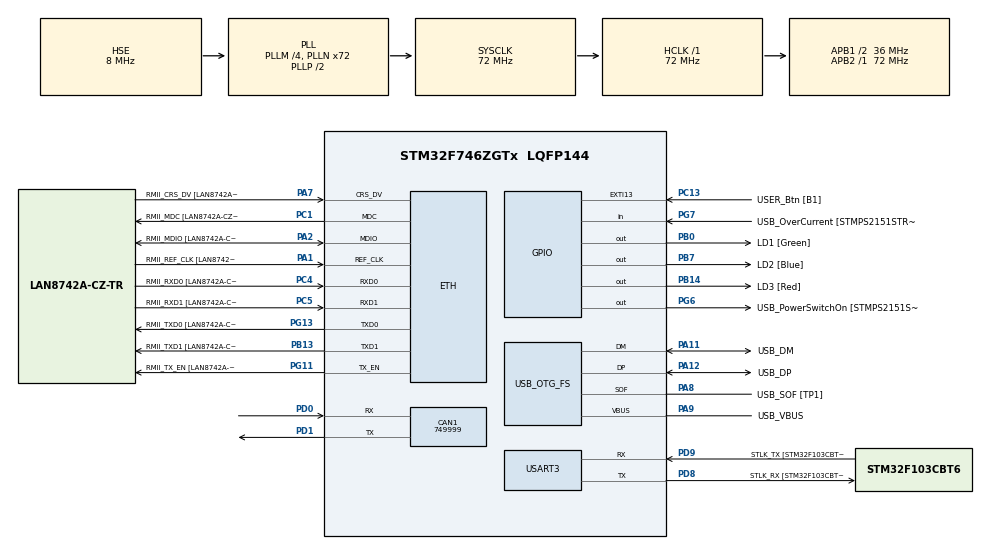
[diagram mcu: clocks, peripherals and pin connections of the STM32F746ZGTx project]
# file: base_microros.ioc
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CAN1.CalculateBaudRate=749999
CAN1.CalculateTimeBit=1333
CAN1.CalculateTimeQuantum=444.44444444444446
Dma.Request0=USART3_RX
Dma.Request1=USART3_TX
Dma.USART3_RX.0.Direction=DMA_PERIPH_TO_MEMORY
Dma.USART3_RX.0.FIFOMode=DMA_FIFOMODE_DISABLE
Dma.USART3_RX.0.Instance=DMA1_Stream1
Dma.USART3_RX.0.MemDataAlignment=DMA_MDATAALIGN_BYTE
Dma.USART3_RX.0.MemInc=DMA_MINC_ENABLE
Dma.USART3_RX.0.Mode=DMA_CIRCULAR
Dma.USART3_RX.0.PeriphDataAlignment=DMA_PDATAALIGN_BYTE
Dma.USART3_RX.0.PeriphInc=DMA_PINC_DISABLE
Dma.USART3_RX.0.Priority=DMA_PRIORITY_VERY_HIGH
Dma.USART3_TX.1.Direction=DMA_MEMORY_TO_PERIPH
Dma.USART3_TX.1.FIFOMode=DMA_FIFOMODE_DISABLE
Dma.USART3_TX.1.Instance=DMA1_Stream3
Dma.USART3_TX.1.MemDataAlignment=DMA_MDATAALIGN_BYTE
Dma.USART3_TX.1.MemInc=DMA_MINC_ENABLE
Dma.USART3_TX.1.Mode=DMA_NORMAL
Dma.USART3_TX.1.PeriphDataAlignment=DMA_PDATAALIGN_BYTE
Dma.USART3_TX.1.PeriphInc=DMA_PINC_DISABLE
Dma.USART3_TX.1.Priority=DMA_PRIORITY_VERY_HIGH
ETH.MediaInterface=HAL_ETH_RMII_MODE
ETH.PHY_Name=LAN8742A_PHY_ADDRESS
ETH.PHY_Value=0
ETH.PhyAddress=0
FREERTOS.Tasks01=defaultTask,24,3500,StartDefaultTask,Default,NULL,Static,defaultTaskBuffer,defaultTaskControlBlock
Mcu.Family=STM32F7
Mcu.Name=STM32F746ZGTx
Mcu.Package=LQFP144
NVIC.DMA1_Stream1_IRQn=true\:5\:0\:false\:false\:true\:true\:false\:true\:true
NVIC.DMA1_Stream3_IRQn=true\:5\:0\:false\:false\:true\:true\:false\:true\:true
NVIC.PriorityGroup=NVIC_PRIORITYGROUP_4
NVIC.TIM1_UP_TIM10_IRQn=true\:15\:0\:false\:false\:true\:false\:false\:true\:true
NVIC.TimeBase=TIM1_UP_TIM10_IRQn
NVIC.TimeBaseIP=TIM1
NVIC.USART3_IRQn=true\:5\:0\:false\:false\:true\:true\:true\:true\:true
PA1.GPIO_Label=RMII_REF_CLK [LAN8742A-CZ-TR_REFCLK0]
PA1.Mode=RMII
PA1.Signal=ETH_REF_CLK
PA10.GPIO_Label=USB_ID
PA10.Signal=USB_OTG_FS_ID
PA11.GPIO_Label=USB_DM
PA11.Mode=Device_Only
PA11.Signal=USB_OTG_FS_DM
PA12.GPIO_Label=USB_DP
PA12.Mode=Device_Only
PA12.Signal=USB_OTG_FS_DP
PA13.GPIO_Label=TMS
PA13.Mode=Serial_Wire
PA13.Signal=SYS_JTMS-SWDIO
PA14.GPIO_Label=TCK
PA14.Mode=Serial_Wire
PA14.Signal=SYS_JTCK-SWCLK
PA2.GPIO_Label=RMII_MDIO [LAN8742A-CZ-TR_MDIO]
PA2.Mode=RMII
PA2.Signal=ETH_MDIO
PA7.GPIO_Label=RMII_CRS_DV [LAN8742A-CZ-TR_CRS_DV]
PA7.Mode=RMII
PA7.Signal=ETH_CRS_DV
PA8.GPIO_Label=USB_SOF [TP1]
PA8.Mode=Activate_SOF_FS
PA8.Signal=USB_OTG_FS_SOF
PA9.GPIO_Label=USB_VBUS
PA9.Mode=Activate_VBUS
PA9.Signal=USB_OTG_FS_VBUS
PB0.GPIO_Label=LD1 [Green]
PB0.Signal=GPIO_Output
PB13.GPIO_Label=RMII_TXD1 [LAN8742A-CZ-TR_TXD1]
PB13.Mode=RMII
PB13.Signal=ETH_TXD1
PB14.GPIO_Label=LD3 [Red]
PB14.Signal=GPIO_Output
PB3.GPIO_Label=SW0
PB3.Signal=SYS_JTDO-SWO
PB7.GPIO_Label=LD2 [Blue]
PB7.Signal=GPIO_Output
PC1.GPIO_Label=RMII_MDC [LAN8742A-CZ-TR_MDC]
PC1.Mode=RMII
PC1.Signal=ETH_MDC
PC13.GPIO_Label=USER_Btn [B1]
PC13.Signal=GPXTI13
PC14/OSC32_IN.Mode=LSE-External-Oscillator
PC14/OSC32_IN.Signal=RCC_OSC32_IN
PC15/OSC32_OUT.Mode=LSE-External-Oscillator
PC15/OSC32_OUT.Signal=RCC_OSC32_OUT
PC4.GPIO_Label=RMII_RXD0 [LAN8742A-CZ-TR_RXD0]
PC4.Mode=RMII
PC4.Signal=ETH_RXD0
PC5.GPIO_Label=RMII_RXD1 [LAN8742A-CZ-TR_RXD1]
PC5.Mode=RMII
PC5.Signal=ETH_RXD1
PD0.Mode=CAN_Activate
PD0.Signal=CAN1_RX
PD1.Mode=CAN_Activate
PD1.Signal=CAN1_TX
PD8.GPIO_Label=STLK_RX [STM32F103CBT6_PA3]
PD8.GPIO_PuPd=GPIO_PULLUP
PD8.Mode=Asynchronous
PD8.Signal=USART3_TX
PD9.GPIO_Label=STLK_TX [STM32F103CBT6_PA2]
PD9.GPIO_PuPd=GPIO_PULLUP
PD9.Mode=Asynchronous
PD9.Signal=USART3_RX
PG11.GPIO_Label=RMII_TX_EN [LAN8742A-CZ-TR_TXEN]
PG11.Mode=RMII
PG11.Signal=ETH_TX_EN
PG13.GPIO_Label=RMII_TXD0 [LAN8742A-CZ-TR_TXD0]
PG13.Mode=RMII
PG13.Signal=ETH_TXD0
PG6.GPIO_Label=USB_PowerSwitchOn [STMPS2151STR_EN]
PG6.Signal=GPIO_Output
PG7.GPIO_Label=USB_OverCurrent [STMPS2151STR_FAULT]
PG7.Signal=GPIO_Input
PH0/OSC_IN.GPIO_Label=MCO [STM32F103CBT6_PA8]
PH0/OSC_IN.Mode=HSE-External-Oscillator
PH0/OSC_IN.Signal=RCC_OSC_IN
PH1/OSC_OUT.Mode=HSE-External-Oscillator
PH1/OSC_OUT.Signal=RCC_OSC_OUT
ProjectManager.HeapSize=0x200
ProjectManager.StackSize=0x400
ProjectManager.TargetToolchain=STM32CubeIDE
RCC.48MHZClocksFreq_Value=24000000
RCC.AHBFreq_Value=72000000
RCC.APB1CLKDivider=RCC_HCLK_DIV2
RCC.APB1Freq_Value=36000000
RCC.APB1TimFreq_Value=72000000
RCC.APB2Freq_Value=72000000
RCC.APB2TimFreq_Value=72000000
RCC.CortexFreq_Value=72000000
RCC.HCLKFreq_Value=72000000
RCC.HSE_VALUE=8000000
RCC.HSI_VALUE=16000000
RCC.PLLM=4
RCC.PLLMUL=RCC_PLL_MUL9
RCC.PLLN=72
RCC.PLLQ=3
RCC.PRESCALERUSB=RCC_USBCLKSOURCE_PLL_DIV1_5
RCC.SYSCLKFreq_VALUE=72000000
RCC.SYSCLKSource=RCC_SYSCLKSOURCE_PLLCLK
RCC.SYSCLKSourceVirtual=RCC_SYSCLKSOURCE_PLLCLK
RCC.USBFreq_Value=48000000
RCC.VCOOutputFreq_Value=144000000
USART3.VirtualMode-Asynchronous=VM_ASYNC
USB_OTG_FS.VirtualMode=Device_Only
VP_FREERTOS_VS_CMSIS_V2.Mode=CMSIS_V2
VP_SYS_VS_tim1.Mode=TIM1
board=NUCLEO-F746ZG

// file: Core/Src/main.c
/* USER CODE BEGIN Header */
/**
  ******************************************************************************
  * @file           : main.c
  * @brief          : Main program body
  ******************************************************************************
  * @attention
  *
  * Copyright (c) 2024 STMicroelectronics.
  * All rights reserved.
  *
  * This software is licensed under terms that can be found in the LICENSE file
  * in the root directory of this software component.
  * If no LICENSE file comes with this software, it is provided AS-IS.
  *
  ******************************************************************************
  */
/* USER CODE END Header */
#include "main.h"
#include "string.h"
#include "cmsis_os.h"

/* USER CODE BEGIN Includes */
#include <rcl/error_handling.h>
#include <rclc/rclc.h>
#include <rclc/executor.h>
#include <uxr/client/transport.h>
#include <rmw_microxrcedds_c/config.h>
#include <rmw_microros/rmw_microros.h>

#include <std_msgs/msg/int32.h>
#include <std_msgs/msg/float32.h>
/* USER CODE END Includes */

typedef StaticTask_t osStaticThreadDef_t;
/* USER CODE BEGIN PTD */

rcl_subscription_t subscription_ancle_left_reference;
rcl_subscription_t subscription_ancle_right_reference;
rcl_subscription_t subscription_knee_left_reference;
rcl_subscription_t subscription_knee_right_reference;
rcl_subscription_t subscription_heap_left_reference;
rcl_subscription_t subscription_heap_right_reference;
rcl_subscription_t subscription_aux_id_reference;
rcl_subscription_t subscription_aux_value_reference;

std_msgs__msg__Float32 msg_ancle_left_reference ;
std_msgs__msg__Float32 msg_ancle_right_reference;
std_msgs__msg__Float32 msg_knee_left_reference;
std_msgs__msg__Float32 msg_knee_right_reference ;
std_msgs__msg__Float32 msg_heap_left_reference ;
std_msgs__msg__Float32 msg_heap_right_reference ;
std_msgs__msg__Float32 msg_aux_id_reference ;
std_msgs__msg__Float32 msg_aux_value_reference;

void subscription_callback_ancle_left_reference(const void * msgin)
{
	const std_msgs__msg__Float32 * msg = (const std_msgs__msg__Float32 *)msgin;
	//printf("Received: %f\n", msg->data);
	HAL_GPIO_TogglePin(GPIOA, GPIO_PIN_5);

}
void subscription_callback_ancle_right_reference(const void * msgin)
{
	const std_msgs__msg__Float32 * msg = (const std_msgs__msg__Float32 *)msgin;
	//printf("Received: %f\n", msg->data);
	UNUSED(msg);

}
void subscription_callback_knee_left_reference(const void * msgin)
{
	const std_msgs__msg__Float32 * msg = (const std_msgs__msg__Float32 *)msgin;
	//printf("Received: %f\n", msg->data);
	UNUSED(msg);

}
void subscription_callback_knee_right_reference(const void * msgin)
{
	const std_msgs__msg__Float32 * msg = (const std_msgs__msg__Float32 *)msgin;
	//printf("Received: %f\n", msg->data);
	UNUSED(msg);

}
void subscription_callback_heap_left_reference(const void * msgin)
{
	const std_msgs__msg__Float32 * msg = (const std_msgs__msg__Float32 *)msgin;
	//printf("Received: %f\n", msg->data);
	UNUSED(msg);

}
void subscription_callback_heap_right_reference(const void * msgin)
{
	const std_msgs__msg__Float32 * msg = (const std_msgs__msg__Float32 *)msgin;
	//printf("Received: %f\n", msg->data);
	UNUSED(msg);

}
void subscription_callback_aux_id_left_reference(const void * msgin)
{
	const std_msgs__msg__Float32 * msg = (const std_msgs__msg__Float32 *)msgin;
	//printf("Received: %f\n", msg->data);
	UNUSED(msg);
}
void subscription_callback_aux_value_right_reference(const void * msgin)
{
	const std_msgs__msg__Float32 * msg = (const std_msgs__msg__Float32 *)msgin;
	//printf("Received: %f\n", msg->data);
	UNUSED(msg);

}

/* USER CODE END PTD */

#if defined ( __ICCARM__ ) /*!< IAR Compiler */
#pragma location=0x2004c000
ETH_DMADescTypeDef  DMARxDscrTab[ETH_RX_DESC_CNT]; /* Ethernet Rx DMA Descriptors */
#pragma location=0x2004c0a0
ETH_DMADescTypeDef  DMATxDscrTab[ETH_TX_DESC_CNT]; /* Ethernet Tx DMA Descriptors */

#elif defined ( __CC_ARM )  /* MDK ARM Compiler */

__attribute__((at(0x2004c000))) ETH_DMADescTypeDef  DMARxDscrTab[ETH_RX_DESC_CNT]; /* Ethernet Rx DMA Descriptors */
__attribute__((at(0x2004c0a0))) ETH_DMADescTypeDef  DMATxDscrTab[ETH_TX_DESC_CNT]; /* Ethernet Tx DMA Descriptors */

#elif defined ( __GNUC__ ) /* GNU Compiler */
ETH_DMADescTypeDef DMARxDscrTab[ETH_RX_DESC_CNT] __attribute__((section(".RxDecripSection"))); /* Ethernet Rx DMA Descriptors */
ETH_DMADescTypeDef DMATxDscrTab[ETH_TX_DESC_CNT] __attribute__((section(".TxDecripSection")));   /* Ethernet Tx DMA Descriptors */

#endif

ETH_TxPacketConfig TxConfig;

CAN_HandleTypeDef hcan1;

ETH_HandleTypeDef heth;

UART_HandleTypeDef huart3;
DMA_HandleTypeDef hdma_usart3_rx;
DMA_HandleTypeDef hdma_usart3_tx;

PCD_HandleTypeDef hpcd_USB_OTG_FS;

/* Definitions for defaultTask */
osThreadId_t defaultTaskHandle;
uint32_t defaultTaskBuffer[ 5000 ];
osStaticThreadDef_t defaultTaskControlBlock;
const osThreadAttr_t defaultTask_attributes = {
  .name = "defaultTask",
  .cb_mem = &defaultTaskControlBlock,
  .cb_size = sizeof(defaultTaskControlBlock),
  .stack_mem = &defaultTaskBuffer[0],
  .stack_size = sizeof(defaultTaskBuffer),
  .priority = (osPriority_t) osPriorityNormal,
};

void SystemClock_Config(void);
static void MX_GPIO_Init(void);
static void MX_DMA_Init(void);
static void MX_USART3_UART_Init(void);
static void MX_USB_OTG_FS_PCD_Init(void);
static void MX_CAN1_Init(void);
static void MX_ETH_Init(void);
void StartDefaultTask(void *argument);

int main(void)
{

  /* MCU Configuration--------------------------------------------------------*/

  /* Reset of all peripherals, Initializes the Flash interface and the Systick. */
  HAL_Init();

  /* Configure the system clock */
  SystemClock_Config();

  /* Initialize all configured peripherals */
  MX_GPIO_Init();
  MX_DMA_Init();
  MX_USART3_UART_Init();
  MX_USB_OTG_FS_PCD_Init();
  MX_CAN1_Init();
  MX_ETH_Init();

  /* Init scheduler */
  osKernelInitialize();

  /* Create the thread(s) */
  /* creation of defaultTask */
  defaultTaskHandle = osThreadNew(StartDefaultTask, NULL, &defaultTask_attributes);

  /* Start scheduler */
  osKernelStart();

  /* We should never get here as control is now taken by the scheduler */
  /* Infinite loop */
  while (1)
  {

  }
}

void SystemClock_Config(void)
{
  RCC_OscInitTypeDef RCC_OscInitStruct = {0};
  RCC_ClkInitTypeDef RCC_ClkInitStruct = {0};

  /** Configure LSE Drive Capability
  */
  HAL_PWR_EnableBkUpAccess();

  /** Configure the main internal regulator output voltage
  */
  __HAL_RCC_PWR_CLK_ENABLE();
  __HAL_PWR_VOLTAGESCALING_CONFIG(PWR_REGULATOR_VOLTAGE_SCALE3);

  /** Initializes the RCC Oscillators according to the specified parameters
  * in the RCC_OscInitTypeDef structure.
  */
  RCC_OscInitStruct.OscillatorType = RCC_OSCILLATORTYPE_HSE;
  RCC_OscInitStruct.HSEState = RCC_HSE_ON;
  RCC_OscInitStruct.PLL.PLLState = RCC_PLL_ON;
  RCC_OscInitStruct.PLL.PLLSource = RCC_PLLSOURCE_HSE;
  RCC_OscInitStruct.PLL.PLLM = 4;
  RCC_OscInitStruct.PLL.PLLN = 72;
  RCC_OscInitStruct.PLL.PLLP = RCC_PLLP_DIV2;
  RCC_OscInitStruct.PLL.PLLQ = 3;
  if (HAL_RCC_OscConfig(&RCC_OscInitStruct) != HAL_OK)
  {
    Error_Handler();
  }

  /** Initializes the CPU, AHB and APB buses clocks
  */
  RCC_ClkInitStruct.ClockType = RCC_CLOCKTYPE_HCLK|RCC_CLOCKTYPE_SYSCLK
                              |RCC_CLOCKTYPE_PCLK1|RCC_CLOCKTYPE_PCLK2;
  RCC_ClkInitStruct.SYSCLKSource = RCC_SYSCLKSOURCE_PLLCLK;
  RCC_ClkInitStruct.AHBCLKDivider = RCC_SYSCLK_DIV1;
  RCC_ClkInitStruct.APB1CLKDivider = RCC_HCLK_DIV2;
  RCC_ClkInitStruct.APB2CLKDivider = RCC_HCLK_DIV1;

  if (HAL_RCC_ClockConfig(&RCC_ClkInitStruct, FLASH_LATENCY_2) != HAL_OK)
  {
    Error_Handler();
  }
}

static void MX_CAN1_Init(void)
{

  hcan1.Instance = CAN1;
  hcan1.Init.Prescaler = 16;
  hcan1.Init.Mode = CAN_MODE_NORMAL;
  hcan1.Init.SyncJumpWidth = CAN_SJW_1TQ;
  hcan1.Init.TimeSeg1 = CAN_BS1_1TQ;
  hcan1.Init.TimeSeg2 = CAN_BS2_1TQ;
  hcan1.Init.TimeTriggeredMode = DISABLE;
  hcan1.Init.AutoBusOff = DISABLE;
  hcan1.Init.AutoWakeUp = DISABLE;
  hcan1.Init.AutoRetransmission = DISABLE;
  hcan1.Init.ReceiveFifoLocked = DISABLE;
  hcan1.Init.TransmitFifoPriority = DISABLE;
  if (HAL_CAN_Init(&hcan1) != HAL_OK)
  {
    Error_Handler();
  }

}

static void MX_ETH_Init(void)
{

   static uint8_t MACAddr[6];

  heth.Instance = ETH;
  MACAddr[0] = 0x00;
  MACAddr[1] = 0x80;
  MACAddr[2] = 0xE1;
  MACAddr[3] = 0x00;
  MACAddr[4] = 0x00;
  MACAddr[5] = 0x00;
  heth.Init.MACAddr = &MACAddr[0];
  heth.Init.MediaInterface = HAL_ETH_RMII_MODE;
  heth.Init.TxDesc = DMATxDscrTab;
  heth.Init.RxDesc = DMARxDscrTab;
  heth.Init.RxBuffLen = 1524;

  if (HAL_ETH_Init(&heth) != HAL_OK)
  {
    Error_Handler();
  }

  memset(&TxConfig, 0 , sizeof(ETH_TxPacketConfig));
  TxConfig.Attributes = ETH_TX_PACKETS_FEATURES_CSUM | ETH_TX_PACKETS_FEATURES_CRCPAD;
  TxConfig.ChecksumCtrl = ETH_CHECKSUM_IPHDR_PAYLOAD_INSERT_PHDR_CALC;
  TxConfig.CRCPadCtrl = ETH_CRC_PAD_INSERT;

}

static void MX_USART3_UART_Init(void)
{

  huart3.Instance = USART3;
  huart3.Init.BaudRate = 115200;
  huart3.Init.WordLength = UART_WORDLENGTH_8B;
  huart3.Init.StopBits = UART_STOPBITS_1;
  huart3.Init.Parity = UART_PARITY_NONE;
  huart3.Init.Mode = UART_MODE_TX_RX;
  huart3.Init.HwFlowCtl = UART_HWCONTROL_NONE;
  huart3.Init.OverSampling = UART_OVERSAMPLING_16;
  huart3.Init.OneBitSampling = UART_ONE_BIT_SAMPLE_DISABLE;
  huart3.AdvancedInit.AdvFeatureInit = UART_ADVFEATURE_NO_INIT;
  if (HAL_UART_Init(&huart3) != HAL_OK)
  {
    Error_Handler();
  }

}

static void MX_USB_OTG_FS_PCD_Init(void)
{

  hpcd_USB_OTG_FS.Instance = USB_OTG_FS;
  hpcd_USB_OTG_FS.Init.dev_endpoints = 6;
  hpcd_USB_OTG_FS.Init.speed = PCD_SPEED_FULL;
  hpcd_USB_OTG_FS.Init.dma_enable = DISABLE;
  hpcd_USB_OTG_FS.Init.phy_itface = PCD_PHY_EMBEDDED;
  hpcd_USB_OTG_FS.Init.Sof_enable = ENABLE;
  hpcd_USB_OTG_FS.Init.low_power_enable = DISABLE;
  hpcd_USB_OTG_FS.Init.lpm_enable = DISABLE;
  hpcd_USB_OTG_FS.Init.vbus_sensing_enable = ENABLE;
  hpcd_USB_OTG_FS.Init.use_dedicated_ep1 = DISABLE;
  if (HAL_PCD_Init(&hpcd_USB_OTG_FS) != HAL_OK)
  {
    Error_Handler();
  }

}

static void MX_DMA_Init(void)
{

  /* DMA controller clock enable */
  __HAL_RCC_DMA1_CLK_ENABLE();

  /* DMA interrupt init */
  /* DMA1_Stream1_IRQn interrupt configuration */
  HAL_NVIC_SetPriority(DMA1_Stream1_IRQn, 5, 0);
  HAL_NVIC_EnableIRQ(DMA1_Stream1_IRQn);
  /* DMA1_Stream3_IRQn interrupt configuration */
  HAL_NVIC_SetPriority(DMA1_Stream3_IRQn, 5, 0);
  HAL_NVIC_EnableIRQ(DMA1_Stream3_IRQn);

}

static void MX_GPIO_Init(void)
{
  GPIO_InitTypeDef GPIO_InitStruct = {0};

  /* GPIO Ports Clock Enable */
  __HAL_RCC_GPIOC_CLK_ENABLE();
  __HAL_RCC_GPIOH_CLK_ENABLE();
  __HAL_RCC_GPIOA_CLK_ENABLE();
  __HAL_RCC_GPIOB_CLK_ENABLE();
  __HAL_RCC_GPIOD_CLK_ENABLE();
  __HAL_RCC_GPIOG_CLK_ENABLE();

  /*Configure GPIO pin Output Level */
  HAL_GPIO_WritePin(GPIOB, LD1_Pin|LD3_Pin|LD2_Pin, GPIO_PIN_RESET);

  /*Configure GPIO pin Output Level */
  HAL_GPIO_WritePin(USB_PowerSwitchOn_GPIO_Port, USB_PowerSwitchOn_Pin, GPIO_PIN_RESET);

  /*Configure GPIO pin : USER_Btn_Pin */
  GPIO_InitStruct.Pin = USER_Btn_Pin;
  GPIO_InitStruct.Mode = GPIO_MODE_IT_RISING;
  GPIO_InitStruct.Pull = GPIO_NOPULL;
  HAL_GPIO_Init(USER_Btn_GPIO_Port, &GPIO_InitStruct);

  /*Configure GPIO pins : LD1_Pin LD3_Pin LD2_Pin */
  GPIO_InitStruct.Pin = LD1_Pin|LD3_Pin|LD2_Pin;
  GPIO_InitStruct.Mode = GPIO_MODE_OUTPUT_PP;
  GPIO_InitStruct.Pull = GPIO_NOPULL;
  GPIO_InitStruct.Speed = GPIO_SPEED_FREQ_LOW;
  HAL_GPIO_Init(GPIOB, &GPIO_InitStruct);

  /*Configure GPIO pin : USB_PowerSwitchOn_Pin */
  GPIO_InitStruct.Pin = USB_PowerSwitchOn_Pin;
  GPIO_InitStruct.Mode = GPIO_MODE_OUTPUT_PP;
  GPIO_InitStruct.Pull = GPIO_NOPULL;
  GPIO_InitStruct.Speed = GPIO_SPEED_FREQ_LOW;
  HAL_GPIO_Init(USB_PowerSwitchOn_GPIO_Port, &GPIO_InitStruct);

  /*Configure GPIO pin : USB_OverCurrent_Pin */
  GPIO_InitStruct.Pin = USB_OverCurrent_Pin;
  GPIO_InitStruct.Mode = GPIO_MODE_INPUT;
  GPIO_InitStruct.Pull = GPIO_NOPULL;
  HAL_GPIO_Init(USB_OverCurrent_GPIO_Port, &GPIO_InitStruct);

}

/* USER CODE BEGIN 4 */

bool cubemx_transport_open(struct uxrCustomTransport * transport);
bool cubemx_transport_close(struct uxrCustomTransport * transport);
size_t cubemx_transport_write(struct uxrCustomTransport* transport, const uint8_t * buf, size_t len, uint8_t * err);
size_t cubemx_transport_read(struct uxrCustomTransport* transport, uint8_t* buf, size_t len, int timeout, uint8_t* err);

void * microros_allocate(size_t size, void * state);
void microros_deallocate(void * pointer, void * state);
void * microros_reallocate(void * pointer, size_t size, void * state);
void * microros_zero_allocate(size_t number_of_elements, size_t size_of_element, void * state);
/* USER CODE END 4 */

void StartDefaultTask(void *argument)
{
	  /* USER CODE BEGIN 5 */

	  // micro-ROS configuration

	  rmw_uros_set_custom_transport(
	    true,
	    (void *) &huart3,
	    cubemx_transport_open,
	    cubemx_transport_close,
	    cubemx_transport_write,
	    cubemx_transport_read);

	  rcl_allocator_t freeRTOS_allocator = rcutils_get_zero_initialized_allocator();
	  freeRTOS_allocator.allocate = microros_allocate;
	  freeRTOS_allocator.deallocate = microros_deallocate;
	  freeRTOS_allocator.reallocate = microros_reallocate;
	  freeRTOS_allocator.zero_allocate =  microros_zero_allocate;

	  if (!rcutils_set_default_allocator(&freeRTOS_allocator)) {
	      printf("Error on default allocators (line %d)\n", __LINE__);
	  }

	  // micro-ROS app

	  //publicadores
	  rcl_publisher_t publisher_ancle_left_current;
	  rcl_publisher_t publisher_ancle_right_current;
	  rcl_publisher_t publisher_knee_left_current;
	  rcl_publisher_t publisher_knee_right_current;
	  rcl_publisher_t publisher_heap_left_current;
	  rcl_publisher_t publisher_heap_right_current;

	  //mensajes publicador

	  std_msgs__msg__Float32 msg_ancle_left_current;
	  std_msgs__msg__Float32 msg_ancle_right_current;
	  std_msgs__msg__Float32 msg_knee_left_current;
	  std_msgs__msg__Float32 msg_knee_right_current;
	  std_msgs__msg__Float32 msg_heap_left_current;
	  std_msgs__msg__Float32 msg_heap_right_current;

	  //mensajes subcriptor

	  rclc_executor_t executor = rclc_executor_get_zero_initialized_executor() ;
	  rclc_support_t support;
	  rcl_allocator_t allocator;
	  rcl_node_t node;

	  allocator = rcl_get_default_allocator();

	  //create init_options
	  rclc_support_init(&support, 0, NULL, &allocator);
	  // create node
	   rclc_node_init_default(&node, "cubemx_node", "", &support);

	 // create publisher

	  rclc_publisher_init_default(
	    &publisher_ancle_left_current,
	    &node,
	    ROSIDL_GET_MSG_TYPE_SUPPORT(std_msgs, msg, Float32),
	    "ancle_left_current");

	  rclc_publisher_init_default(
	    &publisher_ancle_right_current,
	    &node,
	    ROSIDL_GET_MSG_TYPE_SUPPORT(std_msgs, msg, Float32),
	    "ancle_right_current");

	  rclc_publisher_init_default(
	      &publisher_knee_left_current,
	      &node,
	      ROSIDL_GET_MSG_TYPE_SUPPORT(std_msgs, msg, Float32),
	      "knee_left_current");

	  rclc_publisher_init_default(
	      &publisher_knee_right_current,
	      &node,
	      ROSIDL_GET_MSG_TYPE_SUPPORT(std_msgs, msg, Float32),
	      "knee_right_current");
	  rclc_publisher_init_default(
	        &publisher_heap_left_current,
	        &node,
	        ROSIDL_GET_MSG_TYPE_SUPPORT(std_msgs, msg, Float32),
	        "heap_left_current");

	 rclc_publisher_init_default(
	        &publisher_heap_right_current,
	        &node,
	        ROSIDL_GET_MSG_TYPE_SUPPORT(std_msgs, msg, Float32),
	        "heap_right_current");

	   msg_ancle_left_current.data = 0;
	   msg_ancle_right_current.data = 0;
	   msg_knee_left_current.data=0;
	   msg_knee_right_current.data=0;
	   msg_heap_left_current.data=0;
	   msg_heap_right_current.data=0;

	//subcriptor
	   rclc_subscription_init_default(
	   		&subscription_ancle_left_reference,
	   		&node,
			ROSIDL_GET_MSG_TYPE_SUPPORT(std_msgs, msg, Float32),
	   		"/ancle_left_reference");

	   rclc_subscription_init_default(
	   		&subscription_ancle_right_reference,
	   		&node,
			ROSIDL_GET_MSG_TYPE_SUPPORT(std_msgs, msg, Float32),
	   		"/ancle_right_reference");

	   rclc_subscription_init_default(
	   		&subscription_knee_left_reference,
	   		&node,
			ROSIDL_GET_MSG_TYPE_SUPPORT(std_msgs, msg, Float32),
	   		"/knee_left_reference");

	   rclc_subscription_init_default(
	   		&subscription_knee_right_reference,
	   		&node,
			ROSIDL_GET_MSG_TYPE_SUPPORT(std_msgs, msg, Float32),
	   		"/knee_right_reference");

	   rclc_subscription_init_default(
		   		&subscription_heap_left_reference,
		   		&node,
				ROSIDL_GET_MSG_TYPE_SUPPORT(std_msgs, msg, Float32),
		   		"/heap_left_reference");

	   rclc_subscription_init_default(
	   		&subscription_heap_right_reference,
	   		&node,
			ROSIDL_GET_MSG_TYPE_SUPPORT(std_msgs, msg, Float32),
	   		"/heap_right_reference");

	   rclc_subscription_init_default(
	   		&subscription_aux_id_reference,
	   		&node,
			ROSIDL_GET_MSG_TYPE_SUPPORT(std_msgs, msg, Float32),
	   		"/aux_id_reference");

	   rclc_subscription_init_default(
	   		&subscription_aux_value_reference,
	   		&node,
			ROSIDL_GET_MSG_TYPE_SUPPORT(std_msgs, msg, Float32),
	   		"/aux_value_reference");

	   //create executor

	   rclc_executor_init(&executor, &support.context, 8, &allocator);

	   rclc_executor_add_subscription(&executor,
			   	   	   	   	   	   	  &subscription_ancle_left_reference,
									  &msg_ancle_left_reference,
									  &subscription_callback_ancle_left_reference, ON_NEW_DATA);

	   rclc_executor_add_subscription(&executor,
			   	   	   	   	   	   	  &subscription_ancle_right_reference,
									  &msg_ancle_right_reference,
									  &subscription_callback_ancle_right_reference, ON_NEW_DATA);

	   rclc_executor_add_subscription(&executor,
			   	   	   	   	   	   	  &subscription_knee_left_reference,
									  &msg_knee_left_reference,
									  &subscription_callback_knee_left_reference, ON_NEW_DATA);

	   rclc_executor_add_subscription(&executor,
			   	   	   	   	   	   	  &subscription_knee_right_reference,
									  &msg_knee_right_reference,
									  &subscription_callback_knee_right_reference, ON_NEW_DATA);

	   rclc_executor_add_subscription(&executor,
			   	   	   	   	   	   	  &subscription_heap_left_reference,
									  &msg_heap_left_reference,
									  &subscription_callback_heap_left_reference, ON_NEW_DATA);

	///
	  for(;;)
	  {

		  	rcl_ret_t ret1 = rcl_publish(&publisher_ancle_left_current, &msg_ancle_left_current, NULL);

		    rcl_ret_t ret2 = rcl_publish(&publisher_ancle_right_current, &msg_ancle_right_current, NULL);

		    rcl_ret_t ret3 = rcl_publish(&publisher_knee_left_current, &msg_knee_left_current, NULL);

		    rcl_ret_t ret4 = rcl_publish(&publisher_knee_right_current, &msg_knee_right_current, NULL);

		    rcl_ret_t ret5 = rcl_publish(&publisher_heap_left_current, &msg_heap_left_current, NULL);

		    rcl_ret_t ret6 = rcl_publish(&publisher_heap_right_current, &msg_heap_right_current, NULL);

		//HAL_GPIO_TogglePin(GPIOA, GPIO_PIN_5);

		msg_ancle_left_current.data=msg_ancle_left_reference.data;
		msg_ancle_right_current.data=msg_ancle_right_reference.data;
		msg_knee_left_current.data=msg_knee_left_reference.data;
		msg_knee_right_current.data=msg_knee_right_reference.data;
		msg_heap_left_current.data=msg_heap_left_reference.data;
		msg_heap_right_current.data=msg_heap_right_reference.data;
		//msg_heap_left_current.data=msg_aux_id_reference.data;
		//msg_heap_right_current.data=msg_aux_value_reference.data;
		//HAL_GPIO_TogglePin(GPIOA, GPIO_PIN_5);

	    osDelay(1000);
	    rclc_executor_spin_some(&executor, RCL_MS_TO_NS(100));
	  }
	  /* USER CODE END 5 */
	}

void HAL_TIM_PeriodElapsedCallback(TIM_HandleTypeDef *htim)
{
  if (htim->Instance == TIM1) {
    HAL_IncTick();
  }
}

void Error_Handler(void)
{
  __disable_irq();
  while (1)
  {
  }
}
